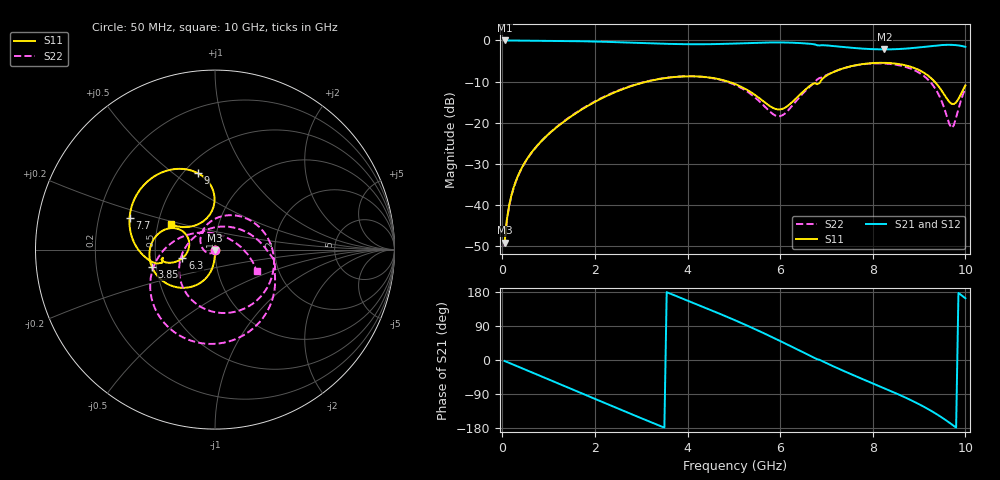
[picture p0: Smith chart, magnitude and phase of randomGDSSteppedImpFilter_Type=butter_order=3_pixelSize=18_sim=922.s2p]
! freq	dB(S11)	phase(S11)	dB(S12)	phase(S12)
!  dB(S21)	phase(S21)	dB(S22)	phase(S22)
!S-par simulation data
#  GHz  S  DB  R 50
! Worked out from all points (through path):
!   200 points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, 50 MHz to 10 GHz, reference 50 ohm
!   highest |S21| = 0.00 dB at 50 MHz (marker M1); lowest = -2.2 dB at 8.25 GHz (marker M2)
!   group delay of S21, straight-line fit = 150 ps
!   lowest |S11| = -49.1 dB at 50 MHz (marker M3), VSWR 1.01, Z = 50 - j0.35 ohm
!   |S11| at or under -10 dB: start of sweep to 3.122 GHz; 4.88 GHz to 6.87 GHz (1.99 GHz wide, 33.9 % of centre); 9.335 GHz to end of sweep
!   |S22| runs from -50.0 to -5.6 dB; largest |S21 - S12| = 0
!   S11 on the Smith chart (normalised r, x): 50 MHz: 1.00, -0.01; 3.85 GHz: 0.47, -0.11; 6.3 GHz: 0.69, -0.07; 7.7 GHz: 0.34, +0.16; 9 GHz: 0.59, +0.62; 10 GHz: 0.58, +0.18
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0.05  -49.11 -86.4  -0.00 -2.6  -0.00 -2.6  -49.95 -85.9
0.1  -43.36 -87.4  -0.01 -5.2  -0.01 -5.2  -43.68 -95.9
0.2  -37.47 -89.0  -0.02 -10.3  -0.02 -10.3  -37.62 -108.9
0.45  -30.33 -91.1  -0.04 -23.0  -0.04 -23.0  -30.44 -135.5
1.15  -21.29 -96.3  -0.10 -58.8  -0.10 -58.8  -21.22 156.5
1.75  -16.52 -104.7  -0.20 -89.7  -0.20 -89.7  -16.41 103.7
2.65  -11.61 -126.2  -0.48 -135.8  -0.48 -135.8  -11.52 33.7
3.4  -9.35 -149.6  -0.77 -173.6  -0.77 -173.6  -9.30 -17.8
3.85  -8.76 -164.6  -0.90 164.2  -0.90 164.2  -8.74 -46.7
4.45  -8.97 175.1  -0.91 134.4  -0.91 134.4  -9.01 -84.8
5.05  -10.69 156.8  -0.74 103.6  -0.74 103.6  -10.91 -126.4
5.9  -16.63 166.6  -0.48 56.0  -0.48 56.0  -18.25 126.3
6.3  -14.54 -165.3  -0.56 32.2  -0.56 32.2  -15.30 43.3
6.7  -10.58 -167.1  -0.88 8.0  -0.88 8.0  -10.64 -1.7
7.15  -7.68 -177.4  -1.36 -16.7  -1.36 -16.7  -7.64 -38.4
7.7  -5.88 159.6  -1.93 -46.3  -1.93 -46.3  -5.92 -73.1
8.25  -5.44 135.8  -2.17 -74.6  -2.17 -74.6  -5.60 -104.9
8.35  -5.48 131.4  -2.16 -79.8  -2.16 -79.8  -5.68 -110.7
9  -7.20 102.7  -1.69 -116.7  -1.69 -116.7  -7.84 -152.9
9.4  -10.85 90.5  -1.20 -144.5  -1.20 -144.5  -12.66 168.3
9.7  -15.38 113.1  -1.07 -169.4  -1.07 -169.4  -21.25 77.2
10  -10.92 150.4  -1.54 162.9  -1.54 162.9  -11.64 -27.1
